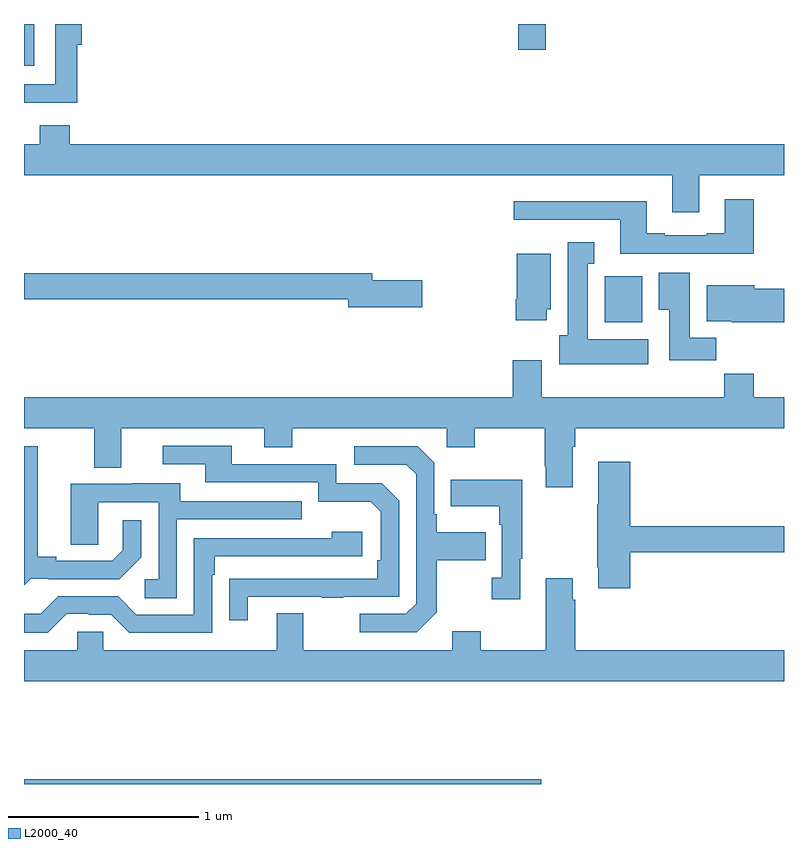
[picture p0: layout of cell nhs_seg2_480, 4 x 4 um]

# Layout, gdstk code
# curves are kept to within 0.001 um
import gdstk
lib = gdstk.Library(unit=1e-6, precision=1e-09)
def R(c, l, rs):  # rectangles x0, y0, x1, y1
    for r in rs: c.add(gdstk.rectangle(r[:2], r[2:], *l))
def P(c, l, *ps):  # polygons
    for p in ps: c.add(gdstk.Polygon(p, *l))
L2000_40 = (2000, 40)

nhs_seg2_480 = lib.new_cell('nhs_seg2_480')
R(nhs_seg2_480, L2000_40, [(135,609.8,137.722,609.824), (138.056,612.23,138.253,612.472), (135,613.58,135.055,613.8), (137.6,613.665,137.747,613.8)])
P(nhs_seg2_480, L2000_40, [(135.281,613.691),(135.305,613.691),(135.305,613.8),(135.165,613.8),(135.165,613.482),(135,613.482),(135,613.386),(135.281,613.386)],
  [(138.553,613.004),(139,613.004),(139,613.168),(135.242,613.168),(135.242,613.267),(135.082,613.267),(135.082,613.168),(135,613.168),(135,613.004),(138.413,613.004),(138.413,612.81),(138.553,612.81)],
  [(138.842,612.877),(138.689,612.877),(138.689,612.7),(138.593,612.7),(138.593,612.687),(138.373,612.687),(138.373,612.7),(138.277,612.7),(138.277,612.868),(137.577,612.868),(137.577,612.771),(138.137,612.771),(138.137,612.591),(138.601,612.591),(138.601,612.59),(138.842,612.59)],
  [(138.286,612.142),(137.968,612.142),(137.968,612.539),(138.001,612.539),(138.001,612.652),(137.861,612.652),(137.861,612.162),(137.816,612.162),(137.816,612.008),(138.286,612.008)],
  [(137.752,612.3),(137.773,612.3),(137.773,612.592),(137.594,612.592),(137.594,612.352),(137.587,612.352),(137.587,612.24),(137.752,612.24)],
  [(138.644,612.148),(138.505,612.148),(138.505,612.49),(138.341,612.49),(138.341,612.296),(138.395,612.296),(138.395,612.03),(138.644,612.03)],
  [(137.095,612.452),(136.834,612.452),(136.834,612.488),(135,612.488),(135,612.352),(136.706,612.352),(136.706,612.31),(137.095,612.31)],
  [(139,612.407),(138.844,612.407),(138.844,612.424),(138.593,612.424),(138.593,612.236),(138.726,612.236),(138.726,612.23),(139,612.23)],
  [(137.573,612.031),(137.573,611.836),(135,611.836),(135,611.672),(135.371,611.672),(135.371,611.464),(135.511,611.464),(135.511,611.672),(136.265,611.672),(136.265,611.573),(136.413,611.573),(136.413,611.672),(137.226,611.672),(137.226,611.573),(137.373,611.573),(137.373,611.672),(137.74,611.672),(137.74,611.473),(137.747,611.473),(137.747,611.361),(137.887,611.361),(137.887,611.576),(137.9,611.576),(137.9,611.672),(139,611.672),(139,611.836),(138.842,611.836),(138.842,611.96),(138.685,611.96),(138.685,611.836),(137.725,611.836),(137.725,612.031)],
  [(136.177,610.785),(136.567,610.785),(136.567,610.78),(136.679,610.78),(136.679,610.785),(136.974,610.785),(136.974,611.292),(136.884,611.382),(136.644,611.382),(136.644,611.484),(136.093,611.484),(136.093,611.58),(135.729,611.58),(135.729,611.484),(135.953,611.484),(135.953,611.388),(136.548,611.388),(136.548,611.285),(136.825,611.285),(136.878,611.232),(136.878,610.978),(136.858,610.978),(136.858,610.881),(136.081,610.88),(136.081,610.662),(136.177,610.662)],
  [(137.173,610.705),(137.173,610.978),(137.429,610.978),(137.429,611.125),(137.173,611.125),(137.173,611.221),(137.16,611.221),(137.16,611.49),(137.073,611.577),(136.737,611.577),(136.737,611.481),(137.013,611.481),(137.064,611.43),(137.064,610.749),(137.01,610.695),(136.767,610.695),(136.767,610.599),(137.067,610.599)],
  [(135.036,610.881),(135.13,610.881),(135.13,610.878),(135.502,610.878),(135.618,610.994),(135.618,611.188),(135.521,611.188),(135.521,611.031),(135.464,610.974),(135.169,610.974),(135.169,610.997),(135.073,610.997),(135.073,611.577),(135,611.577),(135,610.845)],
  [(138.191,611.02),(139,611.02),(139,611.156),(138.191,611.156),(138.191,611.497),(138.023,611.497),(138.023,611.273),(138.016,611.273),(138.016,610.942),(138.023,610.942),(138.023,610.83),(138.191,610.83)],
  [(137.611,610.985),(137.623,610.985),(137.623,611.401),(137.245,611.401),(137.245,611.261),(137.502,611.261),(137.502,611.165),(137.514,611.165),(137.514,610.886),(137.463,610.886),(137.463,610.773),(137.611,610.773)],
  [(135.804,611.193),(136.463,611.193),(136.463,611.289),(135.823,611.289),(135.823,611.383),(135.569,611.383),(135.569,611.379),(135.245,611.379),(135.245,611.059),(135.39,611.059),(135.39,611.283),(135.708,611.283),(135.708,610.878),(135.636,610.878),(135.636,610.777),(135.804,610.777)],
  [(135.225,610.695),(135.341,610.695),(135.341,610.692),(135.459,610.692),(135.555,610.596),(135.99,610.596),(135.99,610.901),(136.003,610.901),(136.003,610.998),(136.78,610.998),(136.78,611.128),(136.619,611.128),(136.619,611.094),(135.894,611.094),(135.894,610.692),(135.591,610.692),(135.495,610.788),(135.18,610.788),(135.087,610.695),(135,610.695),(135,610.595),(135.125,610.595)],
  [(139,610.504),(137.9,610.504),(137.9,610.769),(137.887,610.769),(137.887,610.882),(137.747,610.882),(137.747,610.504),(137.403,610.504),(137.403,610.603),(137.255,610.603),(137.255,610.504),(136.471,610.504),(136.471,610.699),(136.331,610.699),(136.331,610.504),(135.417,610.504),(135.417,610.602),(135.279,610.602),(135.279,610.504),(135,610.504),(135,610.34),(139,610.34)])

lib.write_gds('nhs_seg2_480.gds')
